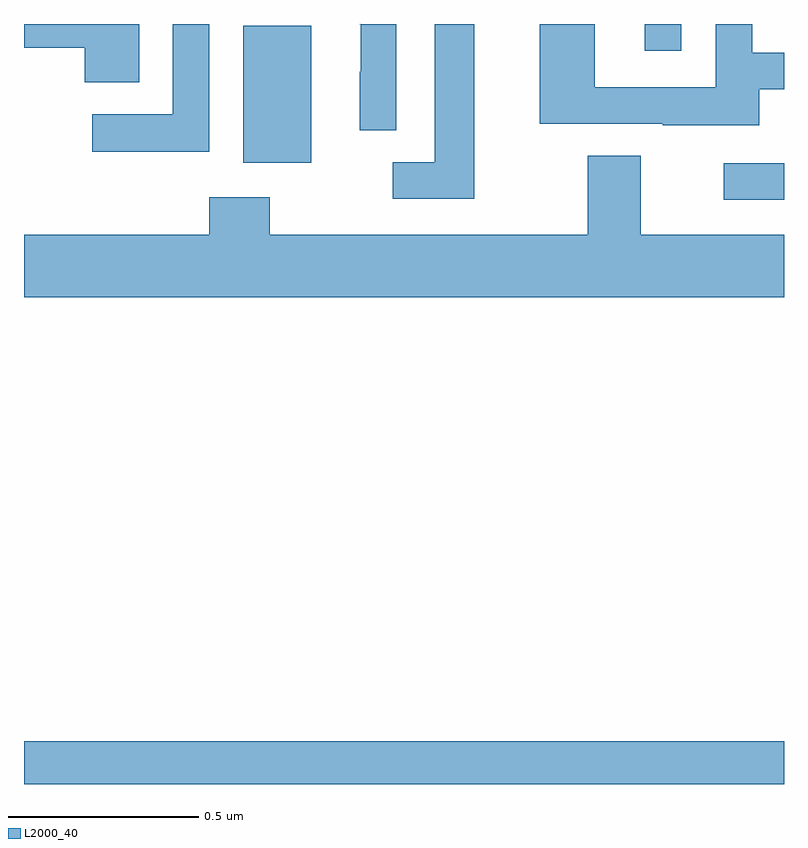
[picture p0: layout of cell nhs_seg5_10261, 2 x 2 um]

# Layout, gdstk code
import gdstk
lib = gdstk.Library(unit=1e-6, precision=1e-09)
def R(c, l, rs):  # rectangles x0, y0, x1, y1
    for r in rs: c.add(gdstk.rectangle(r[:2], r[2:], *l))
def P(c, l, *ps):  # polygons
    for p in ps: c.add(gdstk.Polygon(p, *l))
L2000_40 = (2000, 40)

nhs_seg5_10261 = lib.new_cell('nhs_seg5_10261')
R(nhs_seg5_10261, L2000_40, [(244,868.799,246,868.912), (245.841,870.336,246,870.432), (244.577,870.434,244.756,870.795), (245.633,870.729,245.73,870.799)])
P(nhs_seg5_10261, L2000_40, [(245.935,870.627),(246,870.627),(246,870.723),(245.916,870.723),(245.916,870.799),(245.82,870.799),(245.82,870.633),(245.502,870.633),(245.502,870.799),(245.357,870.799),(245.357,870.537),(245.681,870.537),(245.681,870.533),(245.935,870.533)],
  [(245.185,870.799),(245.081,870.799),(245.081,870.435),(244.971,870.435),(244.971,870.339),(245.185,870.339)],
  [(244.488,870.799),(244.392,870.799),(244.392,870.561),(244.179,870.561),(244.179,870.463),(244.488,870.463)],
  [(244.98,870.799),(244.884,870.799),(244.886,870.797),(244.886,870.674),(244.884,870.674),(244.884,870.52),(244.98,870.52)],
  [(244.303,870.799),(244,870.799),(244,870.737),(244.16,870.737),(244.16,870.646),(244.303,870.646)],
  [(246,870.244),(245.623,870.244),(245.623,870.452),(245.483,870.452),(245.483,870.244),(244.647,870.244),(244.647,870.343),(244.487,870.343),(244.487,870.244),(244,870.244),(244,870.08),(246,870.08)])

lib.write_gds('nhs_seg5_10261.gds')
